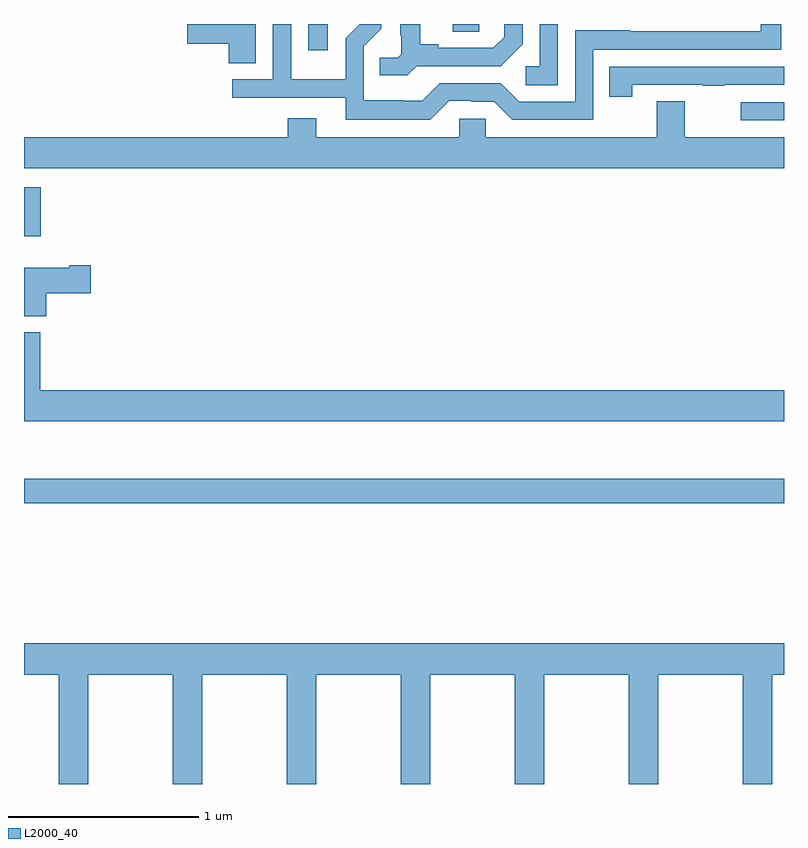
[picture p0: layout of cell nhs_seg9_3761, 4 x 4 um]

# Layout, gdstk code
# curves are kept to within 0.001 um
import gdstk
lib = gdstk.Library(unit=1e-6, precision=1e-09)
def R(c, l, rs):  # rectangles x0, y0, x1, y1
    for r in rs: c.add(gdstk.rectangle(r[:2], r[2:], *l))
def P(c, l, *ps):  # polygons
    for p in ps: c.add(gdstk.Polygon(p, *l))
L2000_40 = (2000, 40)

nhs_seg9_3761 = lib.new_cell('nhs_seg9_3761')
R(nhs_seg9_3761, L2000_40, [(325,1207.978,329,1208.107), (325,1209.384,325.087,1209.64), (328.773,1209.993,329,1210.089), (326.495,1210.362,326.599,1210.5), (327.257,1210.459,327.396,1210.5)])
P(nhs_seg9_3761, L2000_40, [(326.221,1210.5),(325.86,1210.5),(325.86,1210.397),(326.078,1210.397),(326.078,1210.294),(326.221,1210.294)],
  [(327.066,1210.278),(327.508,1210.278),(327.624,1210.394),(327.624,1210.5),(327.527,1210.5),(327.527,1210.431),(327.47,1210.374),(327.181,1210.374),(327.181,1210.394),(327.085,1210.394),(327.085,1210.5),(326.981,1210.5),(326.981,1210.441),(326.985,1210.441),(326.985,1210.341),(326.967,1210.323),(326.872,1210.323),(326.872,1210.231),(327.018,1210.231)],
  [(327.81,1210.5),(327.714,1210.5),(327.714,1210.278),(327.642,1210.278),(327.642,1210.177),(327.81,1210.177)],
  [(327.237,1210.095),(327.354,1210.095),(327.354,1210.092),(327.474,1210.092),(327.57,1209.996),(327.996,1209.996),(327.996,1210.365),(328.986,1210.365),(328.986,1210.5),(328.878,1210.5),(328.878,1210.462),(328.191,1210.461),(328.191,1210.468),(327.9,1210.468),(327.9,1210.092),(327.606,1210.092),(327.51,1210.188),(327.189,1210.188),(327.096,1210.095),(326.996,1210.095),(326.996,1210.099),(326.787,1210.099),(326.787,1210.383),(326.88,1210.476),(326.88,1210.5),(326.768,1210.5),(326.694,1210.426),(326.694,1210.21),(326.406,1210.21),(326.406,1210.5),(326.31,1210.5),(326.31,1210.209),(326.097,1210.209),(326.097,1210.113),(326.693,1210.113),(326.693,1209.995),(327.137,1209.995)],
  [(328.2,1210.179),(328.573,1210.179),(328.573,1210.174),(328.685,1210.174),(328.685,1210.179),(329,1210.179),(329,1210.275),(328.081,1210.275),(328.081,1210.116),(328.2,1210.116)],
  [(329,1209.904),(328.477,1209.904),(328.477,1210.094),(328.33,1210.094),(328.33,1209.904),(327.429,1209.904),(327.429,1210.002),(327.291,1210.002),(327.291,1209.904),(326.539,1209.904),(326.539,1210.003),(326.387,1210.003),(326.387,1209.904),(325,1209.904),(325,1209.74),(329,1209.74)],
  [(325.118,1209.083),(325.351,1209.083),(325.351,1209.23),(325.238,1209.23),(325.238,1209.217),(325,1209.217),(325,1208.963),(325.118,1208.963)],
  [(329,1208.572),(325.085,1208.572),(325.085,1208.878),(325,1208.878),(325,1208.408),(329,1208.408)],
  [(325,1207.076),(325.183,1207.076),(325.183,1206.5),(325.338,1206.5),(325.338,1207.076),(325.783,1207.076),(325.783,1206.5),(325.938,1206.5),(325.938,1207.076),(326.383,1207.076),(326.383,1206.5),(326.538,1206.5),(326.538,1207.076),(326.983,1207.076),(326.983,1206.5),(327.138,1206.5),(327.138,1207.076),(327.583,1207.076),(327.583,1206.5),(327.738,1206.5),(327.738,1207.076),(328.183,1207.076),(328.183,1206.5),(328.338,1206.5),(328.338,1207.076),(328.783,1207.076),(328.783,1206.5),(328.938,1206.5),(328.938,1207.076),(329,1207.076),(329,1207.24),(325,1207.24)])

lib.write_gds('nhs_seg9_3761.gds')
